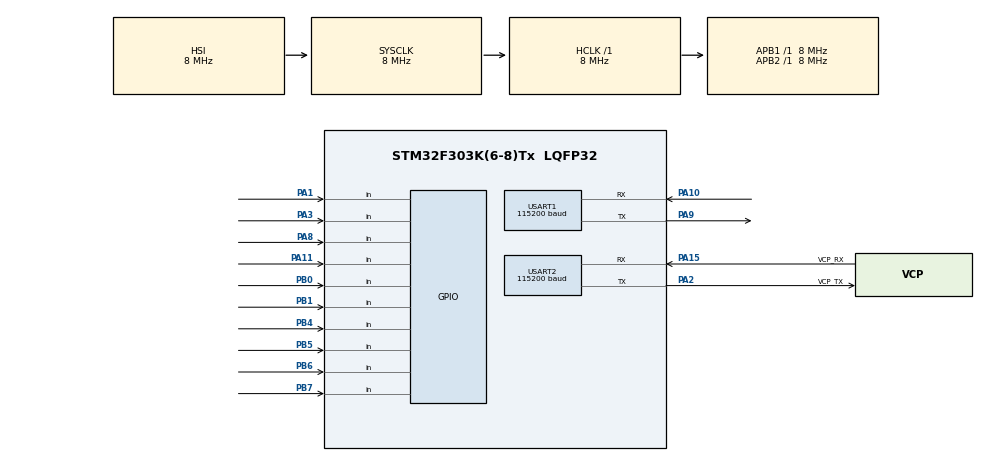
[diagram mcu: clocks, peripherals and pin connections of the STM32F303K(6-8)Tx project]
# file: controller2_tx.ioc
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Mcu.Family=STM32F3
Mcu.Name=STM32F303K(6-8)Tx
Mcu.Package=LQFP32
NVIC.PriorityGroup=NVIC_PRIORITYGROUP_4
NVIC.USART1_IRQn=true\:0\:0\:false\:false\:true\:true\:true\:true
NVIC.USART2_IRQn=true\:0\:0\:false\:false\:true\:true\:true\:true
PA1.GPIO_PuPd=GPIO_PULLUP
PA1.Signal=GPIO_Input
PA10.Mode=Asynchronous
PA10.Signal=USART1_RX
PA11.GPIO_PuPd=GPIO_PULLUP
PA11.Signal=GPIO_Input
PA13.GPIO_Label=SWDIO
PA13.Mode=Serial_Wire
PA13.Signal=SYS_JTMS-SWDIO
PA14.GPIO_Label=SWCLK
PA14.Mode=Serial_Wire
PA14.Signal=SYS_JTCK-SWCLK
PA15.GPIO_Label=VCP_RX
PA15.Mode=Asynchronous
PA15.Signal=USART2_RX
PA2.GPIO_Label=VCP_TX
PA2.Mode=Asynchronous
PA2.Signal=USART2_TX
PA3.GPIO_PuPd=GPIO_PULLUP
PA3.Signal=GPIO_Input
PA8.GPIO_PuPd=GPIO_PULLUP
PA8.Signal=GPIO_Input
PA9.Mode=Asynchronous
PA9.Signal=USART1_TX
PB0.GPIO_PuPd=GPIO_PULLUP
PB0.Signal=GPIO_Input
PB1.GPIO_PuPd=GPIO_PULLUP
PB1.Signal=GPIO_Input
PB4.GPIO_PuPd=GPIO_PULLUP
PB4.Signal=GPIO_Input
PB5.GPIO_PuPd=GPIO_PULLUP
PB5.Signal=GPIO_Input
PB6.GPIO_PuPd=GPIO_PULLUP
PB6.Signal=GPIO_Input
PB7.GPIO_PuPd=GPIO_PULLUP
PB7.Signal=GPIO_Input
PF0\ /\ OSC_IN.GPIO_Label=MCO
PF0\ /\ OSC_IN.Mode=HSE-External-Clock-Source
PF0\ /\ OSC_IN.Signal=RCC_OSC_IN
ProjectManager.HeapSize=0x200
ProjectManager.StackSize=0x400
ProjectManager.TargetToolchain=STM32CubeIDE
RCC.AHBFreq_Value=8000000
RCC.APB1Freq_Value=8000000
RCC.APB2Freq_Value=8000000
RCC.CortexFreq_Value=8000000
RCC.HSE_VALUE=8000000
RCC.HSI_VALUE=8000000
RCC.SYSCLKFreq_VALUE=8000000
USART1.BaudRate=115200
USART1.VirtualMode-Asynchronous=VM_ASYNC
USART2.BaudRate=115200
USART2.VirtualMode-Asynchronous=VM_ASYNC
board=NUCLEO-F303K8

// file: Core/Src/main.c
/* USER CODE BEGIN Header */
/**
  ******************************************************************************
  * @file           : main.c
  * @brief          : Main program body
  ******************************************************************************
  * @attention
  *
  * Copyright (c) 2026 STMicroelectronics.
  * All rights reserved.
  *
  * This software is licensed under terms that can be found in the LICENSE file
  * in the root directory of this software component.
  * If no LICENSE file comes with this software, it is provided AS-IS.
  *
  ******************************************************************************
  */
/* USER CODE END Header */
#include "main.h"

/* USER CODE BEGIN Includes */
#include <stdio.h>
/* USER CODE END Includes */

/* USER CODE BEGIN PD */
#define NUMBER_OF_BUTTON 12
/* USER CODE END PD */

UART_HandleTypeDef huart1;
UART_HandleTypeDef huart2;

/* USER CODE BEGIN PV */
static GPIO_PinState steadyState[NUMBER_OF_BUTTON];
static uint8_t button[NUMBER_OF_BUTTON];
uint32_t preTick = 0;
uint8_t txData [8] = {0};

/* USER CODE END PV */

void SystemClock_Config(void);
static void MX_GPIO_Init(void);
static void MX_USART2_UART_Init(void);
static void MX_USART1_UART_Init(void);

/* USER CODE BEGIN 0 */
void readButton(uint8_t *button1){

	static GPIO_PinState preState[NUMBER_OF_BUTTON] = {1};//直前のボタンの状態
	static uint32_t changeTime[NUMBER_OF_BUTTON] = {0};//直前の変化した時刻

	GPIO_PinState nowState[NUMBER_OF_BUTTON];

	nowState[0] = 1;//supply flag
	nowState[1] = HAL_GPIO_ReadPin(GPIOB,GPIO_PIN_0);//bucket above & open servo
	nowState[2] = 1;//nomal flag
	nowState[3] = 1;//flag super L
	nowState[4] = HAL_GPIO_ReadPin(GPIOA,GPIO_PIN_8);//supply desk
	nowState[5] = HAL_GPIO_ReadPin(GPIOB,GPIO_PIN_1);//bucket below & close servo
	nowState[6] = HAL_GPIO_ReadPin(GPIOA,GPIO_PIN_1);//desk
	nowState[7] = 1;//flag super R
	nowState[8] = 1;
	nowState[9] = HAL_GPIO_ReadPin(GPIOB,GPIO_PIN_5);//supply above
	nowState[10] = 1;
	nowState[11] = HAL_GPIO_ReadPin(GPIOB,GPIO_PIN_4);//supply below

	for(int i = 0; i < NUMBER_OF_BUTTON; i++){
		if(nowState[i] != preState[i]){
			preState[i] = nowState[i];
			changeTime[i] = HAL_GetTick();
		}

		if(HAL_GetTick() - changeTime[i] >= 10){
			steadyState[i] = nowState[i];
				button1[i] = !steadyState[i];
		}
	}

}
/* USER CODE END 0 */

int main(void)
{

  /* MCU Configuration--------------------------------------------------------*/

  /* Reset of all peripherals, Initializes the Flash interface and the Systick. */
  HAL_Init();

  /* Configure the system clock */
  SystemClock_Config();

  /* Initialize all configured peripherals */
  MX_GPIO_Init();
  MX_USART2_UART_Init();
  MX_USART1_UART_Init();

  /* Infinite loop */
  /* USER CODE BEGIN WHILE */
  while (1)
  {

	  readButton(&button[0]);
	  uint16_t sum = 0;

	  txData[0] = 0x81;
	  txData[1] = (button[0]&1)|((button[1]&1)<<1)|((button[2]&1)<<2)|((button[3]&1)<<3)|((button[4]&1)<<4)|((button[5]&1)<<5)|((button[6]&1)<<6);
	  txData[2] = (button[7]&1)|((button[8]&1)<<1)|((button[9]&1)<<2)|((button[10]&1)<<3)|((button[11]&1)<<4);
	  txData[3] = 0;//stickL(Y) NO USED
	  txData[4] = 0;//stickL(X) NO USED
	  txData[5] = 0;//stickR(Y) NO USED
	  txData[6] = 0;//stickR(X) NO USED

	  for(int i = 0; i < 7; i++){
		  sum += txData[i];
	  }

	  txData[7] = (uint8_t)(sum & 0x7F);

	  if(HAL_GetTick() - preTick > 20){
	 		  preTick = HAL_GetTick();

	 			char a[255];
	 			int size = snprintf(a,sizeof(a),"%2X %2X %2X %2X %2X %2X %2X %2X \n\r",txData[0],txData[1],txData[2],txData[3],txData[4],txData[5],txData[6],txData[7]);

	 			HAL_UART_Transmit_IT(&huart2,(uint8_t*)a,size);

	 		  	HAL_UART_Transmit_IT(&huart1,txData,8);

	 	  }
    /* USER CODE END WHILE */

  }
}

void SystemClock_Config(void)
{
  RCC_OscInitTypeDef RCC_OscInitStruct = {0};
  RCC_ClkInitTypeDef RCC_ClkInitStruct = {0};
  RCC_PeriphCLKInitTypeDef PeriphClkInit = {0};

  /** Initializes the RCC Oscillators according to the specified parameters
  * in the RCC_OscInitTypeDef structure.
  */
  RCC_OscInitStruct.OscillatorType = RCC_OSCILLATORTYPE_HSI;
  RCC_OscInitStruct.HSIState = RCC_HSI_ON;
  RCC_OscInitStruct.HSICalibrationValue = RCC_HSICALIBRATION_DEFAULT;
  RCC_OscInitStruct.PLL.PLLState = RCC_PLL_NONE;
  if (HAL_RCC_OscConfig(&RCC_OscInitStruct) != HAL_OK)
  {
    Error_Handler();
  }

  /** Initializes the CPU, AHB and APB buses clocks
  */
  RCC_ClkInitStruct.ClockType = RCC_CLOCKTYPE_HCLK|RCC_CLOCKTYPE_SYSCLK
                              |RCC_CLOCKTYPE_PCLK1|RCC_CLOCKTYPE_PCLK2;
  RCC_ClkInitStruct.SYSCLKSource = RCC_SYSCLKSOURCE_HSI;
  RCC_ClkInitStruct.AHBCLKDivider = RCC_SYSCLK_DIV1;
  RCC_ClkInitStruct.APB1CLKDivider = RCC_HCLK_DIV1;
  RCC_ClkInitStruct.APB2CLKDivider = RCC_HCLK_DIV1;

  if (HAL_RCC_ClockConfig(&RCC_ClkInitStruct, FLASH_LATENCY_0) != HAL_OK)
  {
    Error_Handler();
  }
  PeriphClkInit.PeriphClockSelection = RCC_PERIPHCLK_USART1;
  PeriphClkInit.Usart1ClockSelection = RCC_USART1CLKSOURCE_PCLK1;
  if (HAL_RCCEx_PeriphCLKConfig(&PeriphClkInit) != HAL_OK)
  {
    Error_Handler();
  }
}

static void MX_USART1_UART_Init(void)
{

  huart1.Instance = USART1;
  huart1.Init.BaudRate = 115200;
  huart1.Init.WordLength = UART_WORDLENGTH_8B;
  huart1.Init.StopBits = UART_STOPBITS_1;
  huart1.Init.Parity = UART_PARITY_NONE;
  huart1.Init.Mode = UART_MODE_TX_RX;
  huart1.Init.HwFlowCtl = UART_HWCONTROL_NONE;
  huart1.Init.OverSampling = UART_OVERSAMPLING_16;
  huart1.Init.OneBitSampling = UART_ONE_BIT_SAMPLE_DISABLE;
  huart1.AdvancedInit.AdvFeatureInit = UART_ADVFEATURE_NO_INIT;
  if (HAL_UART_Init(&huart1) != HAL_OK)
  {
    Error_Handler();
  }

}

static void MX_USART2_UART_Init(void)
{

  huart2.Instance = USART2;
  huart2.Init.BaudRate = 115200;
  huart2.Init.WordLength = UART_WORDLENGTH_8B;
  huart2.Init.StopBits = UART_STOPBITS_1;
  huart2.Init.Parity = UART_PARITY_NONE;
  huart2.Init.Mode = UART_MODE_TX_RX;
  huart2.Init.HwFlowCtl = UART_HWCONTROL_NONE;
  huart2.Init.OverSampling = UART_OVERSAMPLING_16;
  huart2.Init.OneBitSampling = UART_ONE_BIT_SAMPLE_DISABLE;
  huart2.AdvancedInit.AdvFeatureInit = UART_ADVFEATURE_NO_INIT;
  if (HAL_UART_Init(&huart2) != HAL_OK)
  {
    Error_Handler();
  }

}

static void MX_GPIO_Init(void)
{
  GPIO_InitTypeDef GPIO_InitStruct = {0};

  /* GPIO Ports Clock Enable */
  __HAL_RCC_GPIOF_CLK_ENABLE();
  __HAL_RCC_GPIOA_CLK_ENABLE();
  __HAL_RCC_GPIOB_CLK_ENABLE();

  /*Configure GPIO pins : PA1 PA3 PA8 PA11 */
  GPIO_InitStruct.Pin = GPIO_PIN_1|GPIO_PIN_3|GPIO_PIN_8|GPIO_PIN_11;
  GPIO_InitStruct.Mode = GPIO_MODE_INPUT;
  GPIO_InitStruct.Pull = GPIO_PULLUP;
  HAL_GPIO_Init(GPIOA, &GPIO_InitStruct);

  /*Configure GPIO pins : PB0 PB1 PB4 PB5
                           PB6 PB7 */
  GPIO_InitStruct.Pin = GPIO_PIN_0|GPIO_PIN_1|GPIO_PIN_4|GPIO_PIN_5
                          |GPIO_PIN_6|GPIO_PIN_7;
  GPIO_InitStruct.Mode = GPIO_MODE_INPUT;
  GPIO_InitStruct.Pull = GPIO_PULLUP;
  HAL_GPIO_Init(GPIOB, &GPIO_InitStruct);

}

void Error_Handler(void)
{
  __disable_irq();
  while (1)
  {
  }
}
